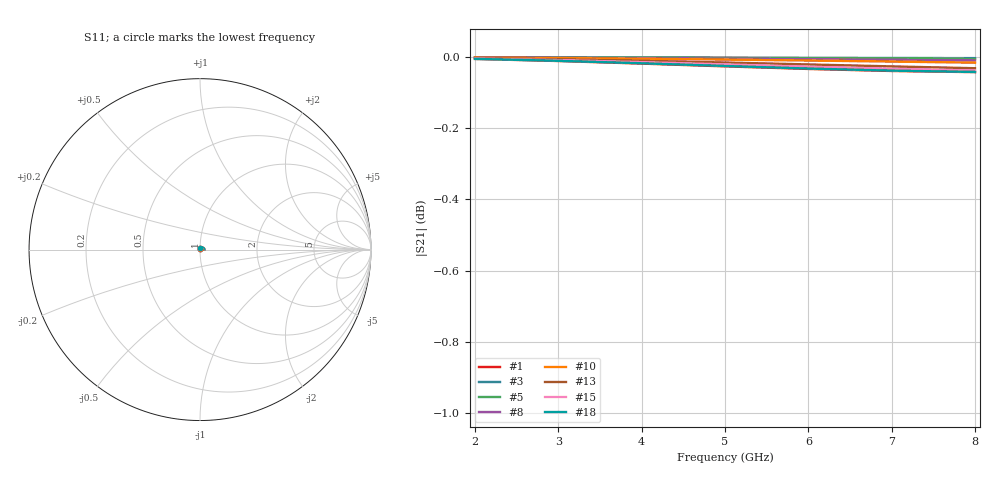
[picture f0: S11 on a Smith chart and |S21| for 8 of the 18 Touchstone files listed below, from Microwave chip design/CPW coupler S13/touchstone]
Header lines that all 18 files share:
! Sonnet Data File
! From: emgraph Version : 16.56
! From Project: 190426_coupler_test
! Data is De-embedded
! Data File Written: 05/06/2019 15:59:44
!< HDATE 04/25/2019 10:48:44
!< MDATE 04/25/2019 10:59:35
!< PARAMS
!< END PARAMS
# GHZ S MA R 50.0 !  non standard terminations in data
! TERM 50.00000 0.000000 50.00000 0.000000 63.84000 0.000000
Fixed: tandelta = 0.0, t_aSi = 0.25, W = 10.0
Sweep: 2 GHz to 8 GHz
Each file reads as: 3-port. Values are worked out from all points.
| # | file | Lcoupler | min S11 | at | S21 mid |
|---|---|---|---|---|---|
| 1 | 190426_coupler_test_param01-1.s3p | 3400.0 | -41.5 dB | 2 GHz | 0.0 dB at 5 GHz |
| 2 | 190426_coupler_test_param04-1.s3p | 300.0 | -45.1 dB | 2 GHz | 0.0 dB at 5 GHz |
| 3 | 190426_coupler_test_param06-1.s3p | 500.0 | -44.8 dB | 2 GHz | 0.0 dB at 5 GHz |
| 4 | 190426_coupler_test_param07.s3p | 600.0 | -44.7 dB | 2 GHz | 0.0 dB at 5 GHz |
| 5 | 190426_coupler_test_param08.s3p | 700.0 | -44.6 dB | 2 GHz | 0.0 dB at 5 GHz |
| 6 | 190426_coupler_test_param09-1.s3p | 800.0 | -44.5 dB | 2 GHz | 0.0 dB at 5 GHz |
| 7 | 190426_coupler_test_param10.s3p | 900.0 | -44.3 dB | 2 GHz | 0.0 dB at 5 GHz |
| 8 | 190426_coupler_test_param12.s3p | 1100.0 | -44.1 dB | 2 GHz | 0.0 dB at 5 GHz |
| 9 | 190426_coupler_test_param14-1.s3p | 1300.0 | -43.9 dB | 2 GHz | 0.0 dB at 5 GHz |
| 10 | 190426_coupler_test_param16-1.s3p | 1500.0 | -43.6 dB | 2 GHz | 0.0 dB at 5 GHz |
| 11 | 190426_coupler_test_param19.s3p | 1800.0 | -43.3 dB | 2 GHz | 0.0 dB at 5 GHz |
| 12 | 190426_coupler_test_param24.s3p | 2300.0 | -42.7 dB | 2 GHz | 0.0 dB at 5 GHz |
| 13 | 190426_coupler_test_param25.s3p | 2400.0 | -42.6 dB | 2 GHz | 0.0 dB at 5 GHz |
| 14 | 190426_coupler_test_param28-1.s3p | 2700.0 | -42.3 dB | 2 GHz | 0.0 dB at 5 GHz |
| 15 | 190426_coupler_test_param30-1.s3p | 2900.0 | -42.0 dB | 2 GHz | 0.0 dB at 5 GHz |
| 16 | 190426_coupler_test_param31.s3p | 3000.0 | -41.9 dB | 2 GHz | 0.0 dB at 5 GHz |
| 17 | 190426_coupler_test_param32-1.s3p | 3100.0 | -41.8 dB | 2 GHz | 0.0 dB at 5 GHz |
| 18 | 190426_coupler_test_param34-1.s3p | 3300.0 | -41.6 dB | 2 GHz | 0.0 dB at 5 GHz |
